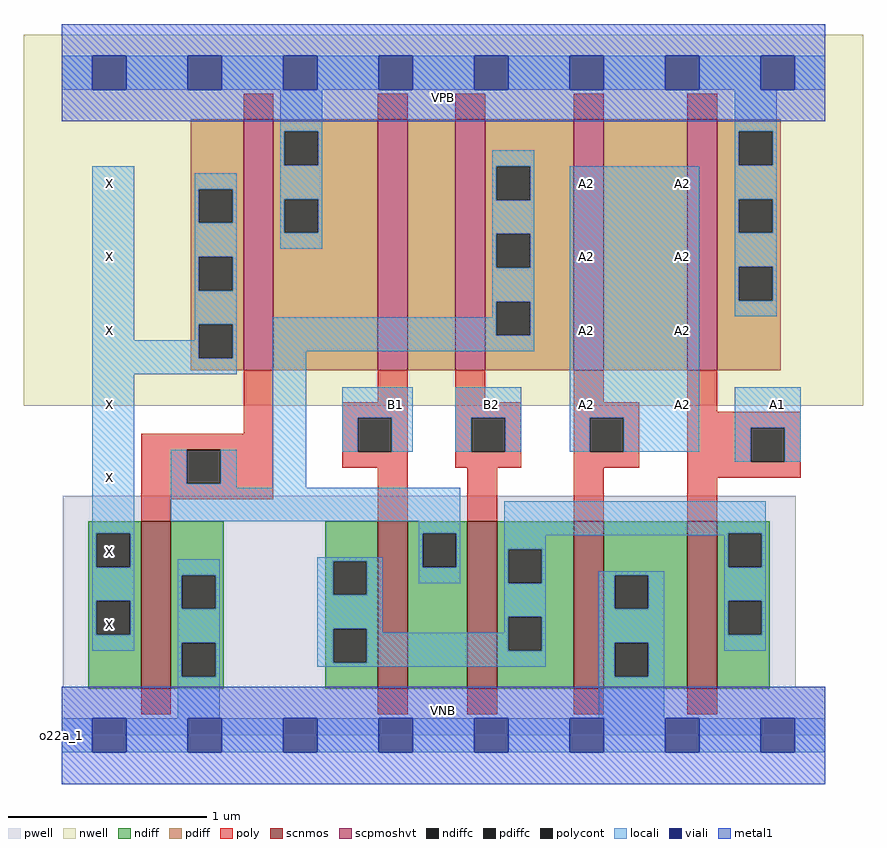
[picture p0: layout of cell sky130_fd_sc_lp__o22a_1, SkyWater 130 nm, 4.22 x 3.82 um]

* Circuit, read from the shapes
.subckt sky130_fd_sc_lp__o22a_1 A1 A2 B1 B2 VGND VNB VPB VPWR X
XM1 VGND n1 X VNB sky130_fd_pr__nfet_01v8 w=0.84 l=0.15
XM2 n1 B1 n2 VNB sky130_fd_pr__nfet_01v8 w=0.84 l=0.15
XM3 n2 B2 n1 VNB sky130_fd_pr__nfet_01v8 w=0.84 l=0.15
XM4 VGND A2 n2 VNB sky130_fd_pr__nfet_01v8 w=0.84 l=0.15
XM5 n2 A1 VGND VNB sky130_fd_pr__nfet_01v8 w=0.84 l=0.15
XM6 VPWR n1 X VPB sky130_fd_pr__pfet_01v8_hvt w=1.26 l=0.15
XM7 n3 B1 VPWR VPB sky130_fd_pr__pfet_01v8_hvt w=1.26 l=0.15
XM8 n1 B2 n3 VPB sky130_fd_pr__pfet_01v8_hvt w=1.26 l=0.15
XM9 n4 A2 n1 VPB sky130_fd_pr__pfet_01v8_hvt w=1.26 l=0.15
XM10 VPWR A1 n4 VPB sky130_fd_pr__pfet_01v8_hvt w=1.26 l=0.15
.ends

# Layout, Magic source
magic
tech sky130A
magscale 1 2
<< nwell >>
rect -38 331 806 704
<< pwell >>
rect 1 49 738 241
rect 0 0 768 49
<< scnmos >>
rect 80 47 110 215
rect 318 47 348 215
rect 408 47 438 215
rect 515 47 545 215
rect 629 47 659 215
<< scpmoshvt >>
rect 183 367 213 619
rect 318 367 348 619
rect 396 367 426 619
rect 515 367 545 619
rect 629 367 659 619
<< ndiff >>
rect 27 203 80 215
rect 27 169 35 203
rect 69 169 80 203
rect 27 135 80 169
rect 27 101 35 135
rect 69 101 80 135
rect 27 47 80 101
rect 110 161 163 215
rect 110 127 121 161
rect 155 127 163 161
rect 110 93 163 127
rect 110 59 121 93
rect 155 59 163 93
rect 110 47 163 59
rect 265 175 318 215
rect 265 141 273 175
rect 307 141 318 175
rect 265 107 318 141
rect 265 73 273 107
rect 307 73 318 107
rect 265 47 318 73
rect 348 203 408 215
rect 348 169 363 203
rect 397 169 408 203
rect 348 47 408 169
rect 438 187 515 215
rect 438 153 449 187
rect 483 153 515 187
rect 438 119 515 153
rect 438 85 449 119
rect 483 85 515 119
rect 438 47 515 85
rect 545 161 629 215
rect 545 127 556 161
rect 590 127 629 161
rect 545 93 629 127
rect 545 59 556 93
rect 590 59 629 93
rect 545 47 629 59
rect 659 203 712 215
rect 659 169 670 203
rect 704 169 712 203
rect 659 135 712 169
rect 659 101 670 135
rect 704 101 712 135
rect 659 47 712 101
<< pdiff >>
rect 130 549 183 619
rect 130 515 138 549
rect 172 515 183 549
rect 130 481 183 515
rect 130 447 138 481
rect 172 447 183 481
rect 130 413 183 447
rect 130 379 138 413
rect 172 379 183 413
rect 130 367 183 379
rect 213 607 318 619
rect 213 573 224 607
rect 258 573 318 607
rect 213 539 318 573
rect 213 505 224 539
rect 258 505 318 539
rect 213 367 318 505
rect 348 367 396 619
rect 426 572 515 619
rect 426 538 437 572
rect 471 538 515 572
rect 426 504 515 538
rect 426 470 437 504
rect 471 470 515 504
rect 426 436 515 470
rect 426 402 437 436
rect 471 402 515 436
rect 426 367 515 402
rect 545 367 629 619
rect 659 607 723 619
rect 659 573 681 607
rect 715 573 723 607
rect 659 539 723 573
rect 659 505 681 539
rect 715 505 723 539
rect 659 471 723 505
rect 659 437 681 471
rect 715 437 723 471
rect 659 367 723 437
<< ndiffc >>
rect 35 169 69 203
rect 35 101 69 135
rect 121 127 155 161
rect 121 59 155 93
rect 273 141 307 175
rect 273 73 307 107
rect 363 169 397 203
rect 449 153 483 187
rect 449 85 483 119
rect 556 127 590 161
rect 556 59 590 93
rect 670 169 704 203
rect 670 101 704 135
<< pdiffc >>
rect 138 515 172 549
rect 138 447 172 481
rect 138 379 172 413
rect 224 573 258 607
rect 224 505 258 539
rect 437 538 471 572
rect 437 470 471 504
rect 437 402 471 436
rect 681 573 715 607
rect 681 505 715 539
rect 681 437 715 471
<< poly >>
rect 183 619 213 645
rect 318 619 348 645
rect 396 619 426 645
rect 515 619 545 645
rect 629 619 659 645
rect 183 303 213 367
rect 318 335 348 367
rect 80 287 213 303
rect 80 253 126 287
rect 160 253 213 287
rect 282 319 348 335
rect 282 285 298 319
rect 332 285 348 319
rect 282 269 348 285
rect 396 335 426 367
rect 515 335 545 367
rect 396 319 462 335
rect 396 285 412 319
rect 446 285 462 319
rect 396 269 462 285
rect 515 319 581 335
rect 515 285 531 319
rect 565 285 581 319
rect 515 269 581 285
rect 629 325 659 367
rect 629 309 743 325
rect 629 275 693 309
rect 727 275 743 309
rect 80 237 213 253
rect 80 215 110 237
rect 318 215 348 269
rect 408 215 438 269
rect 515 215 545 269
rect 629 259 743 275
rect 629 215 659 259
rect 80 21 110 47
rect 318 21 348 47
rect 408 21 438 47
rect 515 21 545 47
rect 629 21 659 47
<< polycont >>
rect 126 253 160 287
rect 298 285 332 319
rect 412 285 446 319
rect 531 285 565 319
rect 693 275 727 309
<< locali >>
rect 0 649 31 683
rect 65 649 127 683
rect 161 649 223 683
rect 257 649 319 683
rect 353 649 415 683
rect 449 649 511 683
rect 545 649 607 683
rect 641 649 703 683
rect 737 649 768 683
rect 220 607 262 649
rect 220 573 224 607
rect 258 573 262 607
rect 677 607 719 649
rect 31 397 73 572
rect 134 549 176 565
rect 134 515 138 549
rect 172 515 176 549
rect 134 481 176 515
rect 220 539 262 573
rect 220 505 224 539
rect 258 505 262 539
rect 220 489 262 505
rect 433 572 475 588
rect 677 573 681 607
rect 715 573 719 607
rect 433 538 437 572
rect 471 538 475 572
rect 433 504 475 538
rect 134 447 138 481
rect 172 447 176 481
rect 134 413 176 447
rect 433 470 437 504
rect 471 470 475 504
rect 433 436 475 470
rect 433 420 437 436
rect 134 397 138 413
rect 31 379 138 397
rect 172 379 176 413
rect 31 363 176 379
rect 212 402 437 420
rect 471 402 475 436
rect 212 386 475 402
rect 31 203 73 363
rect 110 253 126 287
rect 160 253 176 287
rect 110 249 176 253
rect 212 249 246 386
rect 282 319 353 350
rect 282 285 298 319
rect 332 285 353 319
rect 396 319 462 350
rect 396 285 412 319
rect 446 285 462 319
rect 511 319 641 572
rect 677 539 719 573
rect 677 505 681 539
rect 715 505 719 539
rect 677 471 719 505
rect 677 437 681 471
rect 715 437 719 471
rect 677 421 719 437
rect 511 285 531 319
rect 565 285 641 319
rect 677 309 743 350
rect 677 275 693 309
rect 727 275 743 309
rect 110 215 401 249
rect 31 169 35 203
rect 69 169 73 203
rect 359 203 401 215
rect 31 135 73 169
rect 31 101 35 135
rect 69 101 73 135
rect 31 85 73 101
rect 117 161 159 177
rect 117 127 121 161
rect 155 127 159 161
rect 117 93 159 127
rect 117 59 121 93
rect 155 59 159 93
rect 257 175 323 179
rect 257 141 273 175
rect 307 141 323 175
rect 359 169 363 203
rect 397 169 401 203
rect 359 153 401 169
rect 445 203 708 235
rect 445 201 670 203
rect 445 187 487 201
rect 445 153 449 187
rect 483 153 487 187
rect 666 169 670 201
rect 704 169 708 203
rect 257 107 323 141
rect 257 73 273 107
rect 307 103 323 107
rect 445 119 487 153
rect 445 103 449 119
rect 307 85 449 103
rect 483 85 487 119
rect 307 73 487 85
rect 257 69 487 73
rect 540 161 606 165
rect 540 127 556 161
rect 590 127 606 161
rect 540 93 606 127
rect 117 17 159 59
rect 540 59 556 93
rect 590 59 606 93
rect 666 135 708 169
rect 666 101 670 135
rect 704 101 708 135
rect 666 85 708 101
rect 540 17 606 59
rect 0 -17 31 17
rect 65 -17 127 17
rect 161 -17 223 17
rect 257 -17 319 17
rect 353 -17 415 17
rect 449 -17 511 17
rect 545 -17 607 17
rect 641 -17 703 17
rect 737 -17 768 17
<< viali >>
rect 31 649 65 683
rect 127 649 161 683
rect 223 649 257 683
rect 319 649 353 683
rect 415 649 449 683
rect 511 649 545 683
rect 607 649 641 683
rect 703 649 737 683
rect 31 -17 65 17
rect 127 -17 161 17
rect 223 -17 257 17
rect 319 -17 353 17
rect 415 -17 449 17
rect 511 -17 545 17
rect 607 -17 641 17
rect 703 -17 737 17
<< metal1 >>
rect 0 683 768 715
rect 0 649 31 683
rect 65 649 127 683
rect 161 649 223 683
rect 257 649 319 683
rect 353 649 415 683
rect 449 649 511 683
rect 545 649 607 683
rect 641 649 703 683
rect 737 649 768 683
rect 0 617 768 649
rect 0 17 768 49
rect 0 -17 31 17
rect 65 -17 127 17
rect 161 -17 223 17
rect 257 -17 319 17
rect 353 -17 415 17
rect 449 -17 511 17
rect 545 -17 607 17
rect 641 -17 703 17
rect 737 -17 768 17
rect 0 -49 768 -17
<< labels >>
flabel pwell s 0 0 768 49 0 FreeSans 200 0 0 0 VNB
port 6 nsew ground bidirectional
flabel nwell s 0 617 768 666 0 FreeSans 200 0 0 0 VPB
port 7 nsew power bidirectional
rlabel comment s 0 0 0 0 4 o22a_1
flabel metal1 s 0 617 768 666 0 FreeSans 340 0 0 0 VPWR
port 8 nsew power bidirectional
flabel metal1 s 0 0 768 49 0 FreeSans 340 0 0 0 VGND
port 5 nsew ground bidirectional
flabel locali s 511 316 545 350 0 FreeSans 340 0 0 0 A2
port 2 nsew signal input
flabel locali s 511 390 545 424 0 FreeSans 340 0 0 0 A2
port 2 nsew signal input
flabel locali s 511 464 545 498 0 FreeSans 340 0 0 0 A2
port 2 nsew signal input
flabel locali s 511 538 545 572 0 FreeSans 340 0 0 0 A2
port 2 nsew signal input
flabel locali s 607 316 641 350 0 FreeSans 340 0 0 0 A2
port 2 nsew signal input
flabel locali s 607 390 641 424 0 FreeSans 340 0 0 0 A2
port 2 nsew signal input
flabel locali s 607 464 641 498 0 FreeSans 340 0 0 0 A2
port 2 nsew signal input
flabel locali s 607 538 641 572 0 FreeSans 340 0 0 0 A2
port 2 nsew signal input
flabel locali s 415 316 449 350 0 FreeSans 340 0 0 0 B2
port 4 nsew signal input
flabel locali s 31 94 65 128 0 FreeSans 340 0 0 0 X
port 9 nsew signal output
flabel locali s 31 168 65 202 0 FreeSans 340 0 0 0 X
port 9 nsew signal output
flabel locali s 31 242 65 276 0 FreeSans 340 0 0 0 X
port 9 nsew signal output
flabel locali s 31 316 65 350 0 FreeSans 340 0 0 0 X
port 9 nsew signal output
flabel locali s 31 390 65 424 0 FreeSans 340 0 0 0 X
port 9 nsew signal output
flabel locali s 31 464 65 498 0 FreeSans 340 0 0 0 X
port 9 nsew signal output
flabel locali s 31 538 65 572 0 FreeSans 340 0 0 0 X
port 9 nsew signal output
flabel locali s 703 316 737 350 0 FreeSans 340 0 0 0 A1
port 1 nsew signal input
flabel locali s 319 316 353 350 0 FreeSans 340 0 0 0 B1
port 3 nsew signal input
<< properties >>
string LEFsite unit
string LEFclass CORE
string FIXED_BBOX 0 0 768 666
string GDS_FILE $PDKPATH/libs.ref/sky130_fd_sc_lp/gds/sky130_fd_sc_lp.gds
string LEFsymmetry X Y R90
string GDS_END 953350
string GDS_START 945358
<< end >>
